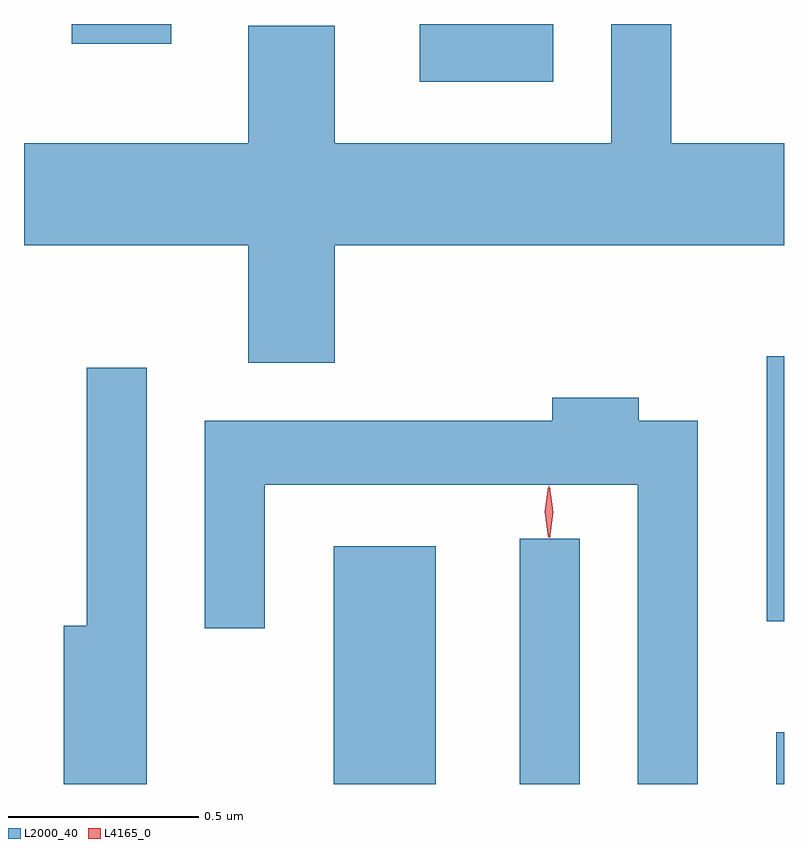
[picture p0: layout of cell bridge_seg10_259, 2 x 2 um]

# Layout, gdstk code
import gdstk
lib = gdstk.Library(unit=1e-6, precision=1e-09)
def R(c, l, rs):  # rectangles x0, y0, x1, y1
    for r in rs: c.add(gdstk.rectangle(r[:2], r[2:], *l))
def P(c, l, *ps):  # polygons
    for p in ps: c.add(gdstk.Polygon(p, *l))
L2000_40 = (2000, 40)
L4165_0 = (4165, 0)

bridge_seg10_259 = lib.new_cell('bridge_seg10_259')
R(bridge_seg10_259, L2000_40, [(1761.866,2096.958,1762.134,2097.584), (1762.356,2096.958,1762.514,2097.603), (1763.031,2096.958,1763.051,2097.094), (1763.006,2097.386,1763.051,2098.084), (1762.093,2098.806,1762.444,2098.958), (1761.176,2098.906,1761.439,2098.958)])
P(bridge_seg10_259, L2000_40, [(1761.869,2098.376),(1763.051,2098.376),(1763.051,2098.644),(1762.754,2098.644),(1762.754,2098.958),(1762.596,2098.958),(1762.596,2098.644),(1761.869,2098.644),(1761.869,2098.954),(1761.641,2098.954),(1761.641,2098.644),(1761.051,2098.644),(1761.051,2098.376),(1761.641,2098.376),(1761.641,2098.066),(1761.869,2098.066)],
  [(1761.374,2098.053),(1761.216,2098.053),(1761.216,2097.374),(1761.156,2097.374),(1761.156,2096.958),(1761.374,2096.958)],
  [(1762.824,2097.914),(1762.669,2097.914),(1762.669,2097.974),(1762.441,2097.974),(1762.441,2097.914),(1761.526,2097.914),(1761.526,2097.368),(1761.684,2097.368),(1761.684,2097.746),(1762.666,2097.746),(1762.666,2096.958),(1762.824,2096.958)])
P(bridge_seg10_259, L4165_0, [(1762.431,2097.607),(1762.422,2097.674),(1762.431,2097.74),(1762.432,2097.74),(1762.432,2097.74),(1762.442,2097.674),(1762.432,2097.607),(1762.432,2097.607)],
  [(1762.434,2097.604),(1762.434,2097.604),(1762.424,2097.673),(1762.434,2097.742),(1762.434,2097.743),(1762.435,2097.742),(1762.444,2097.673),(1762.435,2097.604)])

lib.write_gds('bridge_seg10_259.gds')
